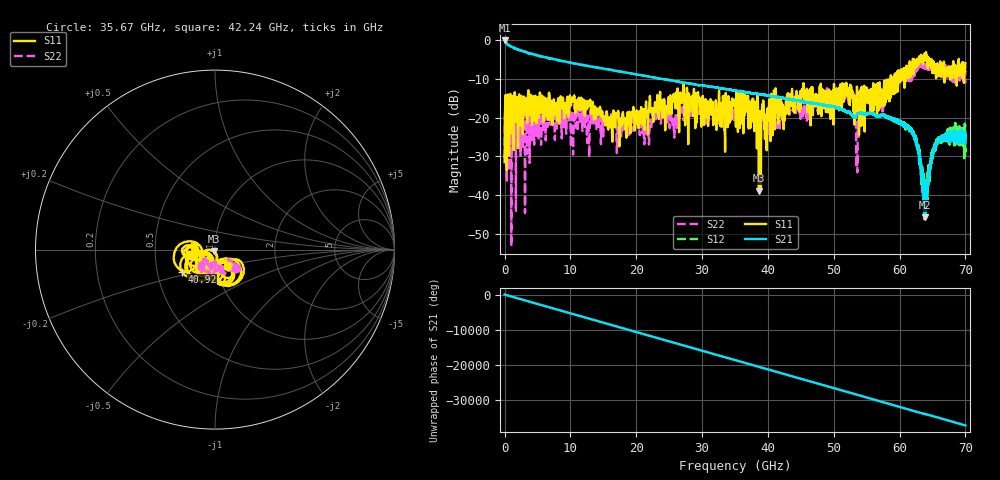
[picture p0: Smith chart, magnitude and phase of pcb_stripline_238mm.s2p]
! 8/9/2025 3:00:00 PM
! This is a measured stripline on PCB, 238mm in length. Structure: VNA->COAX->stripline->COAX->VNA
! CHANNEL.1
! TR.MEASUREMENT
! CORRECTED.DATA
! RF.CORRECTION: FULL.FOUR.PORT.CAL.PORT.1.2.3.4
! AVERAGING.OFF
! IF.BANDWIDTH: 1KHZ
! SWEEPTYPE:  FREQ.SWEEP(Linear)
! Reference Plane Port Info
! PORT:  PORT1  PORT2
! DISTANCE:  0  m  0  m
! TIME:  0  s  0  s
! PHASE.OFFSET:  0  deg.  0  deg.
! LOSS:  0  dB  0  dB
! REF.LOSS:  0  dB  0  dB
! REF.FREQ:  0  Hz  0  Hz
! Power Info
! POWER:  -10  dBm  -10  dBm
! EFF.POWER:  -10  dBm  -10  dBm
! SOURCE.ATTEN:  0  dB  0  dB
! TEST.ATTEN:  0  dB  0  dB
! PORTZ: Port1:50 Port2:50
# GHZ S RI R 50
! FREQ.GHZ  S11RE  S11IM  S21RE  S21IM  S12RE  S12IM  S22RE  S22IM
!; PortSelection: Port_12 (1-->1,2-->2)
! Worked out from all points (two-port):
!   7000 points, 10 MHz to 70 GHz, reference 50 ohm
!   highest |S21| = -0.21 dB at 10 MHz (marker M1); lowest = -45.6 dB at 63.84 GHz (marker M2)
!   |S21| within 3 dB of the highest: start of sweep to 3.223 GHz
!   lowest |S11| = -38.8 dB at 38.63 GHz (marker M3), VSWR 1.02, Z = 49.5 - j1.01 ohm
!   |S11| at or under -10 dB: start of sweep to 58.65 GHz; 58.70677 GHz to 58.94679 GHz (240 MHz wide, 0.408 % of centre); 59.33211 GHz to 59.50247 GHz (170.4 MHz wide, 0.287 % of centre)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
!   |S22| runs from -53.0 to -5.7 dB; largest |S21 - S12| = 0.045
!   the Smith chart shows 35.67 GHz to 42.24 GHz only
!   S11 on the Smith chart (normalised r, x): 35.67 GHz: 1.13, -0.21; 40.92 GHz: 0.67, -0.18; 42.24 GHz: 0.79, +0.04
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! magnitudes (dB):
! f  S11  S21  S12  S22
! 10 MHz  -31.5  -0.2  -0.2  -30.5
! 790 MHz  -15.4  -1.6  -1.6  -15.7
! 11.68 GHz  -15.0  -6.5  -6.5  -16.8
! 16.06 GHz  -21.7  -7.7  -7.7  -21.5
! 21.61 GHz  -19.1  -9.4  -9.4  -25.0
! 23.34 GHz  -16.6  -9.9  -9.9  -19.3
! 35.01 GHz  -17.3  -13.1  -13.1  -18.2
! 35.67 GHz  -18.8  -13.3  -13.2  -16.1
! 36.69 GHz  -15.8  -13.6  -13.6  -16.4
! 38.63 GHz  -38.8  -14.0  -14.0  -19.3
! 40.92 GHz  -13.0  -14.6  -14.6  -17.2
! 42.24 GHz  -18.4  -15.0  -15.0  -18.4
! 46.67 GHz  -17.0  -16.3  -16.3  -16.7
! 52.71 GHz  -14.9  -19.3  -19.2  -14.4
! 53.64 GHz  -14.1  -19.0  -19.1  -23.9
! 54.46 GHz  -15.0  -19.0  -18.9  -15.4
! 57.2 GHz  -13.7  -19.5  -19.5  -15.9
! 58.34 GHz  -14.7  -19.8  -20.0  -11.4
! 62.2 GHz  -5.6  -24.8  -24.7  -9.4
! 63.84 GHz  -4.5  -45.6  -40.2  -6.6
! 65.79 GHz  -9.3  -26.2  -26.2  -7.8
! 70 GHz  -6.0  -25.0  -21.7  -8.3
